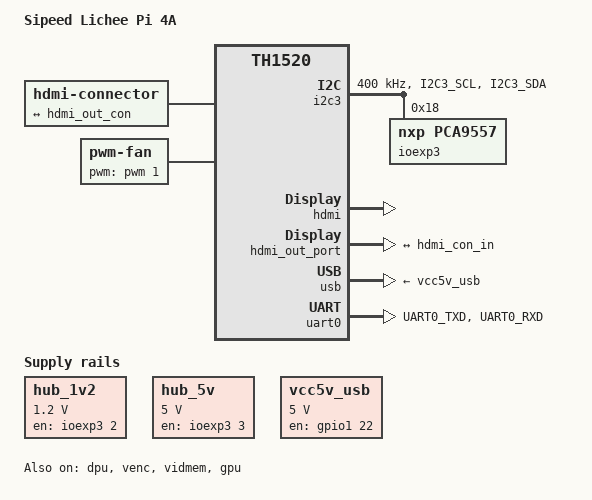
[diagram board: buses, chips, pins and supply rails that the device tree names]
// SPDX-License-Identifier: (GPL-2.0 OR MIT)
/*
 * Copyright (C) 2023 Jisheng Zhang <jszhang@kernel.org>
 */

#include <dt-bindings/gpio/gpio.h>

#include "th1520-lichee-module-4a.dtsi"

/ {
	model = "Sipeed Lichee Pi 4A";
	compatible = "sipeed,lichee-pi-4a", "sipeed,lichee-module-4a", "thead,th1520";

	aliases {
		gpio0 = &gpio0;
		gpio1 = &gpio1;
		gpio2 = &gpio2;
		gpio3 = &gpio3;
		gpio4 = &gpio4;
		gpio5 = &aogpio;
		i2c3 = &i2c3;
		serial0 = &uart0;
		serial1 = &uart1;
		serial2 = &uart2;
		serial3 = &uart3;
		serial4 = &uart4;
		serial5 = &uart5;
		spi0 = &spi0;
	};

	chosen {
		stdout-path = "serial0:115200n8";
	};

	hdmi-connector {
		compatible = "hdmi-connector";
		type = "a";

		port {
			hdmi_con_in: endpoint {
				remote-endpoint = <&hdmi_out_con>;
			};
		};
	};

	thermal-zones {
		cpu-thermal {
			polling-delay = <1000>;
			polling-delay-passive = <1000>;
			thermal-sensors = <&pvt 0>;

			trips {
				fan_config0: fan-trip0 {
					temperature = <39000>;
					hysteresis = <5000>;
					type = "active";
				};

				fan_config1: fan-trip1 {
					temperature = <50000>;
					hysteresis = <5000>;
					type = "active";
				};

				fan_config2: fan-trip2 {
					temperature = <60000>;
					hysteresis = <5000>;
					type = "active";
				};
			};

			cooling-maps {
				map-active-0 {
					cooling-device = <&fan 1 1>;
					trip = <&fan_config0>;
				};

				map-active-1 {
					cooling-device = <&fan 2 2>;
					trip = <&fan_config1>;
				};

				map-active-2 {
					cooling-device = <&fan 3 3>;
					trip = <&fan_config2>;
				};
			};
		};
	};

	fan: pwm-fan {
		pinctrl-names = "default";
		pinctrl-0 = <&fan_pins>;
		compatible = "pwm-fan";
		#cooling-cells = <2>;
		pwms = <&pwm 1 10000000 0>;
		cooling-levels = <0 66 196 255>;
	};

	hub_1v2: regulator-hub-1v2 {
		compatible = "regulator-fixed";
		regulator-name = "HUB_1V2";
		regulator-min-microvolt = <1200000>;
		regulator-max-microvolt = <1200000>;
		gpio = <&ioexp3 2 GPIO_ACTIVE_HIGH>;
		enable-active-high;
	};

	hub_5v: regulator-hub-5v {
		compatible = "regulator-fixed";
		regulator-name = "HUB_5V";
		regulator-min-microvolt = <5000000>;
		regulator-max-microvolt = <5000000>;
		gpio = <&ioexp3 3 GPIO_ACTIVE_HIGH>;
		enable-active-high;
	};

	vcc5v_usb: regulator-vcc5v-usb {
		compatible = "regulator-fixed";
		regulator-name = "VCC5V_USB";
		regulator-min-microvolt = <5000000>;
		regulator-max-microvolt = <5000000>;
		gpio = <&gpio1 22 GPIO_ACTIVE_HIGH>;
		enable-active-high;
	};

};

&i2c3 {
	clock-frequency = <400000>;
	pinctrl-names = "default";
	pinctrl-0 = <&i2c3_pins>;
	status = "okay";

	ioexp3: gpio@18 {
		compatible = "nxp,pca9557";
		reg = <0x18>;
		gpio-controller;
		#gpio-cells = <2>;
		gpio-line-names = "tp0_rst",
				  "",
				  "hub_1v2",
				  "hub_5v",
				  "vdd28_tp0",
				  "vdd33_lcd0",
				  "vdd18_lcd0",
				  "lcd0_reset";
	};
};

&padctrl0_apsys {
	fan_pins: fan-0 {
		pwm1-pins {
			pins = "GPIO3_3"; /* PWM1 */
			function = "pwm";
			bias-disable;
			drive-strength = <25>;
			input-disable;
			input-schmitt-disable;
			slew-rate = <0>;
		};
	};

	i2c3_pins: i2c3-0 {
		i2c-pins {
			pins = "I2C3_SCL", "I2C3_SDA";
			function = "i2c";
			bias-pull-up = <2100>;
			drive-strength = <7>;
			input-enable;
			input-schmitt-enable;
			slew-rate = <0>;
		};
	};

	uart0_pins: uart0-0 {
		tx-pins {
			pins = "UART0_TXD";
			function = "uart";
			bias-disable;
			drive-strength = <3>;
			input-disable;
			input-schmitt-disable;
			slew-rate = <0>;
		};

		rx-pins {
			pins = "UART0_RXD";
			function = "uart";
			bias-disable;
			drive-strength = <1>;
			input-enable;
			input-schmitt-enable;
			slew-rate = <0>;
		};
	};
};

&dpu {
	status = "okay";
};

&hdmi {
	status = "okay";
};

&hdmi_out_port {
	hdmi_out_con: endpoint {
		remote-endpoint = <&hdmi_con_in>;
	};
};

&usb {
	hubswitch-gpios = <&aogpio 4 GPIO_ACTIVE_HIGH>;
	vbus-supply = <&vcc5v_usb>;
	hub1v2-supply = <&hub_1v2>;
	hub5v-supply = <&hub_5v>;
	status = "okay";
};

&venc {
	status = "okay";
};

&vidmem {
	status = "okay";
};

/* The Rogue DDK delegates the TH1520-specific clock/reset order to pwrseq. */
&gpu {
	status = "okay";
};

&uart0 {
	pinctrl-names = "default";
	pinctrl-0 = <&uart0_pins>;
	status = "okay";
};
